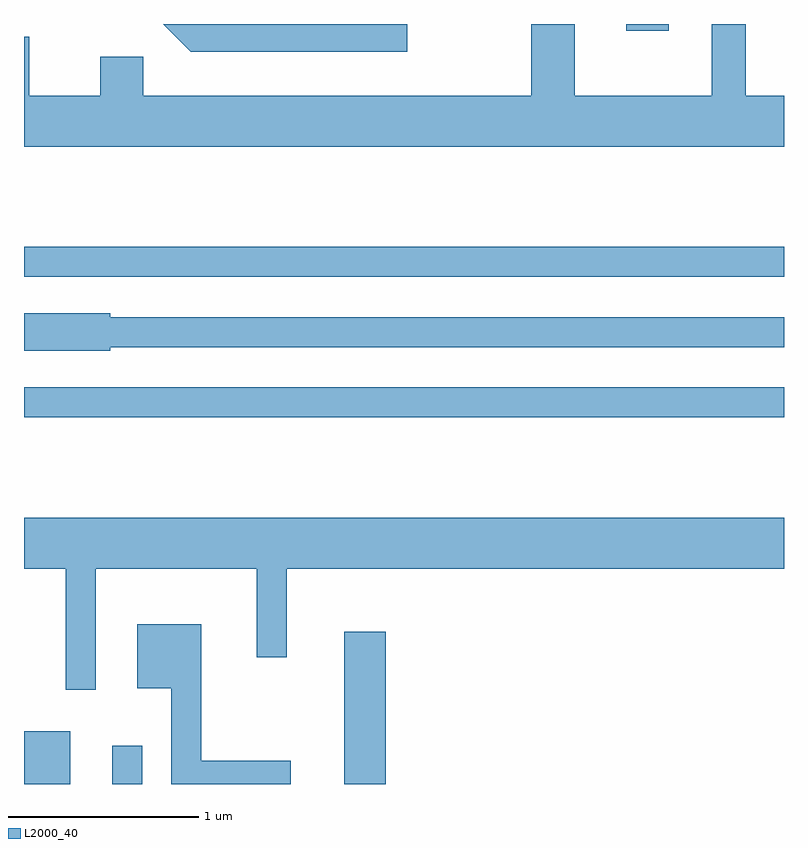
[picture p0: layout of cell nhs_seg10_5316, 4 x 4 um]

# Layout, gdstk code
import gdstk
lib = gdstk.Library(unit=1e-6, precision=1e-09)
def R(c, l, rs):  # rectangles x0, y0, x1, y1
    for r in rs: c.add(gdstk.rectangle(r[:2], r[2:], *l))
def P(c, l, *ps):  # polygons
    for p in ps: c.add(gdstk.Polygon(p, *l))
L2000_40 = (2000, 40)

nhs_seg10_5316 = lib.new_cell('nhs_seg10_5316')
R(nhs_seg10_5316, L2000_40, [(341.611,2150.522,341.854,2150.799), (342.076,2150.522,342.234,2150.723), (343.296,2150.522,343.514,2151.324), (341.611,2152.451,345.611,2152.609), (341.611,2153.191,345.611,2153.349), (344.781,2154.486,345.004,2154.522)])
P(nhs_seg10_5316, L2000_40, [(345.611,2154.144),(345.409,2154.144),(345.409,2154.522),(345.231,2154.522),(345.231,2154.144),(344.509,2154.144),(344.509,2154.522),(344.281,2154.522),(344.281,2154.144),(342.239,2154.144),(342.239,2154.349),(342.011,2154.349),(342.011,2154.144),(341.639,2154.144),(341.639,2154.454),(341.611,2154.454),(341.611,2153.876),(345.611,2153.876)],
  [(343.628,2154.522),(342.343,2154.522),(342.489,2154.376),(343.628,2154.376)],
  [(342.064,2152.821),(345.611,2152.821),(345.611,2152.979),(342.064,2152.979),(342.064,2152.999),(341.611,2152.999),(341.611,2152.801),(342.064,2152.801)],
  [(341.989,2151.656),(342.836,2151.656),(342.836,2151.188),(342.994,2151.188),(342.994,2151.656),(345.611,2151.656),(345.611,2151.924),(341.611,2151.924),(341.611,2151.656),(341.831,2151.656),(341.831,2151.018),(341.989,2151.018)],
  [(343.014,2150.644),(342.544,2150.644),(342.544,2151.364),(342.206,2151.364),(342.206,2151.026),(342.386,2151.026),(342.386,2150.522),(343.014,2150.522)])

lib.write_gds('nhs_seg10_5316.gds')
